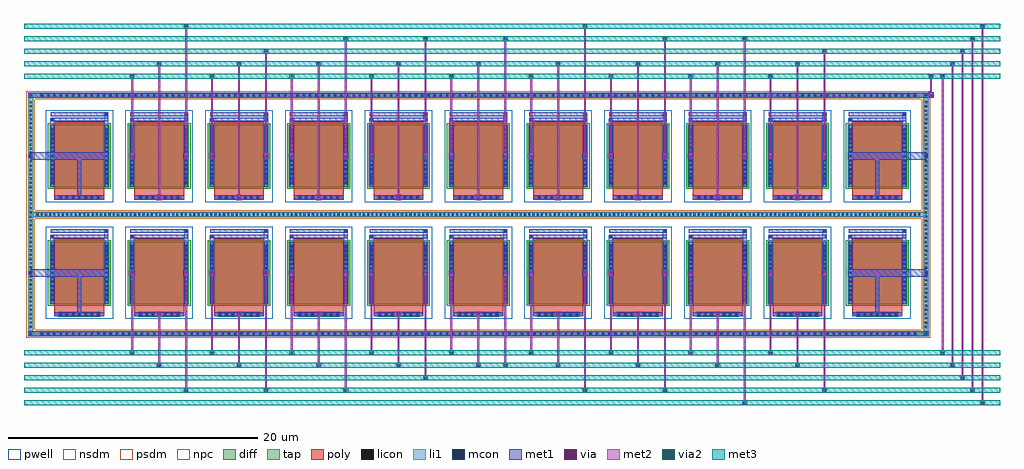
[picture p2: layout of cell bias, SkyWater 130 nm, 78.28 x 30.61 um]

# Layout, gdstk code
import gdstk
lib = gdstk.Library(unit=1e-6, precision=5e-09)
def R(c, l, rs):  # rectangles x0, y0, x1, y1
    for r in rs: c.add(gdstk.rectangle(r[:2], r[2:], *l))
def A(c, l, x, y, w, h, nx, ny, dx, dy):  # array of equal rectangles
    R(c, l, [(x+i*dx, y+j*dy, x+i*dx+w, y+j*dy+h) for i in range(nx) for j in range(ny)])
def P(c, l, *ps):  # polygons
    for p in ps: c.add(gdstk.Polygon(p, *l))
pwell = (64, 44)
diff = (65, 20)
tap = (65, 44)
poly = (66, 20)
licon = (66, 44)
li1 = (67, 20)
mcon = (67, 44)
met1 = (68, 20)
via = (68, 44)
met2 = (69, 20)
via2 = (69, 44)
met3 = (70, 20)
nsdm = (93, 44)
psdm = (94, 20)
npc = (95, 20)

unnamed_e75113da = lib.new_cell('Unnamed_e75113da')
R(unnamed_e75113da, pwell, [(-2.7,-3.68,2.7,3.685)])
R(unnamed_e75113da, diff, [(-2.39,-2.5,2.39,2.5)])
A(unnamed_e75113da, poly, -1.665, -3.48, 0.33, 0.33, 7, 1, 0.5, 0)
R(unnamed_e75113da, poly, [(-2,-3.48,2,-3.15), (-2,-3.15,2,-2.75), (-2,-2.75,2,2.75)])
A(unnamed_e75113da, licon, -1.585, -3.4, 0.17, 0.17, 7, 1, 0.5, 0)
A(unnamed_e75113da, licon, -2.25, -2.125, 0.17, 0.17, 1, 13, 0, 0.34)
A(unnamed_e75113da, licon, 2.08, -2.125, 0.17, 0.17, 1, 13, 0, 0.34)
A(unnamed_e75113da, li1, -1.665, -3.48, 0.33, 0.33, 7, 1, 0.5, 0)
A(unnamed_e75113da, li1, -2.25, -2.245, 0.17, 0.17, 1, 13, 0, 0.36)
A(unnamed_e75113da, li1, 2.08, -2.245, 0.17, 0.17, 1, 13, 0, 0.36)
A(unnamed_e75113da, li1, -2.33, -2.205, 0.33, 0.33, 1, 13, 0, 0.34)
A(unnamed_e75113da, li1, 2, -2.205, 0.33, 0.33, 1, 13, 0, 0.34)
R(unnamed_e75113da, li1, [(-2.33,-2.5,-2,2.5), (2,-2.5,2.33,2.5), (-2.25,-2.245,-2.08,2.245), (2.08,-2.245,2.25,2.245), (-2.33,2.5,-2,3.015), (2,2.5,2.33,3.445), (-2.25,2.845,-2.08,3.015), (2.08,3.275,2.25,3.445)])
A(unnamed_e75113da, mcon, -1.585, -3.4, 0.17, 0.17, 7, 1, 0.5, 0)
A(unnamed_e75113da, mcon, -2.25, -2.245, 0.17, 0.17, 1, 13, 0, 0.36)
A(unnamed_e75113da, mcon, 2.08, -2.245, 0.17, 0.17, 1, 13, 0, 0.36)
R(unnamed_e75113da, mcon, [(-2.25,2.845,-2.08,3.015), (2.08,3.275,2.25,3.445)])
A(unnamed_e75113da, met1, -1.645, -3.46, 0.29, 0.29, 7, 1, 0.5, 0)
A(unnamed_e75113da, met1, -2.31, -2.305, 0.29, 0.29, 1, 13, 0, 0.36)
A(unnamed_e75113da, met1, 2.02, -2.305, 0.29, 0.29, 1, 13, 0, 0.36)
R(unnamed_e75113da, met1, [(-2,-3.48,2,-3.15), (-2.31,-2.5,-2.02,2.5), (2.02,-2.5,2.31,2.5), (-2.31,2.785,-2.02,3.075), (-2.31,2.785,2.31,3.075), (-2.31,3.215,2.31,3.505), (2.02,3.215,2.31,3.505)])
R(unnamed_e75113da, nsdm, [(-2.52,-2.63,2.52,2.63)])
A(unnamed_e75113da, npc, -1.685, -3.5, 0.37, 0.37, 7, 1, 0.5, 0)
R(unnamed_e75113da, npc, [(-1.685,-3.5,-0.815,-3.13), (-1.685,-3.5,-0.815,-3.13), (-1.185,-3.5,-0.315,-3.13), (-1.185,-3.5,-0.315,-3.13), (-0.685,-3.5,0.185,-3.13), (-0.685,-3.5,0.185,-3.13), (-0.185,-3.5,0.685,-3.13), (-0.185,-3.5,0.685,-3.13), (0.315,-3.5,1.185,-3.13), (0.315,-3.5,1.185,-3.13), (0.815,-3.5,1.685,-3.13), (0.815,-3.5,1.685,-3.13)])

unnamed_e9b6cd89_1 = lib.new_cell('Unnamed_e9b6cd89$1')
A(unnamed_e9b6cd89_1, diff, -35.205, -9.775, 0.41, 0.41, 141, 2, 0.5, 19.14)
A(unnamed_e9b6cd89_1, diff, -36.11, -9.215, 0.41, 0.41, 1, 54, 0, 0.34)
A(unnamed_e9b6cd89_1, diff, 35.7, -9.215, 0.41, 0.41, 1, 54, 0, 0.34)
R(unnamed_e9b6cd89_1, diff, [(-35.205,-9.775,35.205,-9.365), (-36.11,-9.215,-35.7,9.215), (35.7,-9.215,36.11,9.215), (-35.205,9.365,35.205,9.775)])
P(unnamed_e9b6cd89_1, diff, [(36.11,9.775),(-36.11,9.775),(-36.11,-9.365),(-35.7,-9.365),(-35.7,9.365),(35.7,9.365),(35.7,-9.365),(-35.7,-9.365),(-36.11,-9.365),(-36.11,-9.775),(36.11,-9.775)])
A(unnamed_e9b6cd89_1, licon, -35.085, -9.655, 0.17, 0.17, 141, 2, 0.5, 19.14)
A(unnamed_e9b6cd89_1, licon, -35.99, -9.095, 0.17, 0.17, 1, 54, 0, 0.34)
A(unnamed_e9b6cd89_1, licon, 35.82, -9.095, 0.17, 0.17, 1, 54, 0, 0.34)
A(unnamed_e9b6cd89_1, li1, -35.165, -9.735, 0.33, 0.33, 141, 2, 0.5, 19.14)
A(unnamed_e9b6cd89_1, li1, -36.07, -9.175, 0.33, 0.33, 1, 54, 0, 0.34)
A(unnamed_e9b6cd89_1, li1, 35.74, -9.175, 0.33, 0.33, 1, 54, 0, 0.34)
R(unnamed_e9b6cd89_1, li1, [(-36.11,-9.775,-35.7,-9.365), (35.7,-9.775,36.11,-9.365), (-35.165,-9.735,35.165,-9.405), (-35.99,-9.655,-35.82,-9.485), (-35.99,-9.655,-35.82,-9.485), (35.82,-9.655,35.99,-9.485), (35.82,-9.655,35.99,-9.485), (-36.11,-9.365,-35.7,9.365), (35.7,-9.365,36.11,9.365), (-36.11,9.365,-35.7,9.775), (35.7,9.365,36.11,9.775), (-35.165,9.405,35.165,9.735), (-35.99,9.485,-35.82,9.655), (-35.99,9.485,-35.82,9.655), (35.82,9.485,35.99,9.655), (35.82,9.485,35.99,9.655)])
A(unnamed_e9b6cd89_1, mcon, -35.085, -9.655, 0.17, 0.17, 141, 2, 0.5, 19.14)
R(unnamed_e9b6cd89_1, mcon, [(-35.99,-9.655,-35.82,-9.485), (35.82,-9.655,35.99,-9.485), (-35.99,9.485,-35.82,9.655), (35.82,9.485,35.99,9.655)])
A(unnamed_e9b6cd89_1, met1, -35.145, -9.715, 0.29, 0.29, 141, 2, 0.5, 19.14)
R(unnamed_e9b6cd89_1, met1, [(-36.11,-9.775,-35.7,-9.365), (-36.11,-9.775,-35.7,-9.365), (-35.7,-9.775,35.7,-9.365), (35.7,-9.775,36.11,-9.365), (35.7,-9.775,36.11,-9.365), (-36.05,-9.715,-35.76,-9.425), (35.76,-9.715,36.05,-9.425), (-36.11,9.365,-35.7,9.775), (-36.11,9.365,-35.7,9.775), (-35.7,9.365,35.7,9.775), (35.7,9.365,36.11,9.775), (35.7,9.365,36.11,9.775), (-36.05,9.425,-35.76,9.715), (35.76,9.425,36.05,9.715)])
P(unnamed_e9b6cd89_1, psdm, [(36.24,9.905),(-36.24,9.905),(-36.24,-9.235),(-35.57,-9.235),(-35.57,9.235),(35.57,9.235),(35.57,-9.235),(-35.57,-9.235),(-36.24,-9.235),(-36.24,-9.905),(36.24,-9.905)])

via_stack_9ce972bd_70 = lib.new_cell('via_stack_9ce972bd$70')
R(via_stack_9ce972bd_70, li1, [(-0.085,-0.085,0.085,0.085)])
R(via_stack_9ce972bd_70, mcon, [(-0.085,-0.085,0.085,0.085)])
R(via_stack_9ce972bd_70, met1, [(-0.145,-0.145,0.145,0.145)])

via_stack_9ce972bd_71 = lib.new_cell('via_stack_9ce972bd$71')
R(via_stack_9ce972bd_71, li1, [(-0.085,-0.085,0.085,0.085)])
R(via_stack_9ce972bd_71, mcon, [(-0.085,-0.085,0.085,0.085)])
R(via_stack_9ce972bd_71, met1, [(-0.145,-0.145,0.145,0.145)])

via_stack_9ce972bd_72 = lib.new_cell('via_stack_9ce972bd$72')
R(via_stack_9ce972bd_72, li1, [(-0.085,-0.085,0.085,0.085)])
R(via_stack_9ce972bd_72, mcon, [(-0.085,-0.085,0.085,0.085)])
R(via_stack_9ce972bd_72, met1, [(-0.145,-0.145,0.145,0.145)])

via_stack_9ce972bd_73 = lib.new_cell('via_stack_9ce972bd$73')
R(via_stack_9ce972bd_73, li1, [(-0.085,-0.085,0.085,0.085)])
R(via_stack_9ce972bd_73, mcon, [(-0.085,-0.085,0.085,0.085)])
R(via_stack_9ce972bd_73, met1, [(-0.145,-0.145,0.145,0.145)])

via_stack_22ee024c_123 = lib.new_cell('via_stack_22ee024c$123')
R(via_stack_22ee024c_123, met1, [(-0.215,-0.215,0.215,0.215)])
R(via_stack_22ee024c_123, via, [(-0.075,-0.075,0.075,0.075)])
R(via_stack_22ee024c_123, met2, [(-0.165,-0.165,0.165,0.165)])

via_stack_22ee024c_124 = lib.new_cell('via_stack_22ee024c$124')
R(via_stack_22ee024c_124, met1, [(-0.215,-0.215,0.215,0.215)])
R(via_stack_22ee024c_124, via, [(-0.075,-0.075,0.075,0.075)])
R(via_stack_22ee024c_124, met2, [(-0.165,-0.165,0.165,0.165)])

via_stack_22ee024c_125 = lib.new_cell('via_stack_22ee024c$125')
R(via_stack_22ee024c_125, met1, [(-0.215,-0.215,0.215,0.215)])
R(via_stack_22ee024c_125, via, [(-0.075,-0.075,0.075,0.075)])
R(via_stack_22ee024c_125, met2, [(-0.165,-0.165,0.165,0.165)])

via_stack_22ee024c_126 = lib.new_cell('via_stack_22ee024c$126')
R(via_stack_22ee024c_126, met1, [(-0.215,-0.215,0.215,0.215)])
R(via_stack_22ee024c_126, via, [(-0.075,-0.075,0.075,0.075)])
R(via_stack_22ee024c_126, met2, [(-0.165,-0.165,0.165,0.165)])

via_stack_22ee024c_127 = lib.new_cell('via_stack_22ee024c$127')
R(via_stack_22ee024c_127, met1, [(-0.215,-0.215,0.215,0.215)])
R(via_stack_22ee024c_127, via, [(-0.075,-0.075,0.075,0.075)])
R(via_stack_22ee024c_127, met2, [(-0.165,-0.165,0.165,0.165)])

via_stack_22ee024c_128 = lib.new_cell('via_stack_22ee024c$128')
R(via_stack_22ee024c_128, met1, [(-0.215,-0.215,0.215,0.215)])
R(via_stack_22ee024c_128, via, [(-0.075,-0.075,0.075,0.075)])
R(via_stack_22ee024c_128, met2, [(-0.165,-0.165,0.165,0.165)])

via_stack_22ee024c_129 = lib.new_cell('via_stack_22ee024c$129')
R(via_stack_22ee024c_129, met1, [(-0.215,-0.215,0.215,0.215)])
R(via_stack_22ee024c_129, via, [(-0.075,-0.075,0.075,0.075)])
R(via_stack_22ee024c_129, met2, [(-0.165,-0.165,0.165,0.165)])

via_stack_22ee024c_130 = lib.new_cell('via_stack_22ee024c$130')
R(via_stack_22ee024c_130, met1, [(-0.215,-0.215,0.215,0.215)])
R(via_stack_22ee024c_130, via, [(-0.075,-0.075,0.075,0.075)])
R(via_stack_22ee024c_130, met2, [(-0.165,-0.165,0.165,0.165)])

via_stack_22ee024c_131 = lib.new_cell('via_stack_22ee024c$131')
R(via_stack_22ee024c_131, met1, [(-0.215,-0.215,0.215,0.215)])
R(via_stack_22ee024c_131, via, [(-0.075,-0.075,0.075,0.075)])
R(via_stack_22ee024c_131, met2, [(-0.165,-0.165,0.165,0.165)])

via_stack_22ee024c_132 = lib.new_cell('via_stack_22ee024c$132')
R(via_stack_22ee024c_132, met1, [(-0.215,-0.215,0.215,0.215)])
R(via_stack_22ee024c_132, via, [(-0.075,-0.075,0.075,0.075)])
R(via_stack_22ee024c_132, met2, [(-0.165,-0.165,0.165,0.165)])

via_stack_22ee024c_133 = lib.new_cell('via_stack_22ee024c$133')
R(via_stack_22ee024c_133, met1, [(-0.215,-0.215,0.215,0.215)])
R(via_stack_22ee024c_133, via, [(-0.075,-0.075,0.075,0.075)])
R(via_stack_22ee024c_133, met2, [(-0.165,-0.165,0.165,0.165)])

via_stack_22ee024c_134 = lib.new_cell('via_stack_22ee024c$134')
R(via_stack_22ee024c_134, met1, [(-0.215,-0.215,0.215,0.215)])
R(via_stack_22ee024c_134, via, [(-0.075,-0.075,0.075,0.075)])
R(via_stack_22ee024c_134, met2, [(-0.165,-0.165,0.165,0.165)])

via_stack_22ee024c_135 = lib.new_cell('via_stack_22ee024c$135')
R(via_stack_22ee024c_135, met1, [(-0.215,-0.215,0.215,0.215)])
R(via_stack_22ee024c_135, via, [(-0.075,-0.075,0.075,0.075)])
R(via_stack_22ee024c_135, met2, [(-0.165,-0.165,0.165,0.165)])

via_stack_22ee024c_136 = lib.new_cell('via_stack_22ee024c$136')
R(via_stack_22ee024c_136, met1, [(-0.215,-0.215,0.215,0.215)])
R(via_stack_22ee024c_136, via, [(-0.075,-0.075,0.075,0.075)])
R(via_stack_22ee024c_136, met2, [(-0.165,-0.165,0.165,0.165)])

via_stack_22ee024c_137 = lib.new_cell('via_stack_22ee024c$137')
R(via_stack_22ee024c_137, met1, [(-0.215,-0.215,0.215,0.215)])
R(via_stack_22ee024c_137, via, [(-0.075,-0.075,0.075,0.075)])
R(via_stack_22ee024c_137, met2, [(-0.165,-0.165,0.165,0.165)])

via_stack_22ee024c_138 = lib.new_cell('via_stack_22ee024c$138')
R(via_stack_22ee024c_138, met1, [(-0.215,-0.215,0.215,0.215)])
R(via_stack_22ee024c_138, via, [(-0.075,-0.075,0.075,0.075)])
R(via_stack_22ee024c_138, met2, [(-0.165,-0.165,0.165,0.165)])

via_stack_22ee024c_139 = lib.new_cell('via_stack_22ee024c$139')
R(via_stack_22ee024c_139, met1, [(-0.215,-0.215,0.215,0.215)])
R(via_stack_22ee024c_139, via, [(-0.075,-0.075,0.075,0.075)])
R(via_stack_22ee024c_139, met2, [(-0.165,-0.165,0.165,0.165)])

via_stack_22ee024c_140 = lib.new_cell('via_stack_22ee024c$140')
R(via_stack_22ee024c_140, met1, [(-0.215,-0.215,0.215,0.215)])
R(via_stack_22ee024c_140, via, [(-0.075,-0.075,0.075,0.075)])
R(via_stack_22ee024c_140, met2, [(-0.165,-0.165,0.165,0.165)])

via_stack_22ee024c_141 = lib.new_cell('via_stack_22ee024c$141')
R(via_stack_22ee024c_141, met1, [(-0.215,-0.215,0.215,0.215)])
R(via_stack_22ee024c_141, via, [(-0.075,-0.075,0.075,0.075)])
R(via_stack_22ee024c_141, met2, [(-0.165,-0.165,0.165,0.165)])

via_stack_22ee024c_142 = lib.new_cell('via_stack_22ee024c$142')
R(via_stack_22ee024c_142, met1, [(-0.215,-0.215,0.215,0.215)])
R(via_stack_22ee024c_142, via, [(-0.075,-0.075,0.075,0.075)])
R(via_stack_22ee024c_142, met2, [(-0.165,-0.165,0.165,0.165)])

via_stack_22ee024c_143 = lib.new_cell('via_stack_22ee024c$143')
R(via_stack_22ee024c_143, met1, [(-0.215,-0.215,0.215,0.215)])
R(via_stack_22ee024c_143, via, [(-0.075,-0.075,0.075,0.075)])
R(via_stack_22ee024c_143, met2, [(-0.165,-0.165,0.165,0.165)])

via_stack_22ee024c_144 = lib.new_cell('via_stack_22ee024c$144')
R(via_stack_22ee024c_144, met1, [(-0.215,-0.215,0.215,0.215)])
R(via_stack_22ee024c_144, via, [(-0.075,-0.075,0.075,0.075)])
R(via_stack_22ee024c_144, met2, [(-0.165,-0.165,0.165,0.165)])

via_stack_22ee024c_145 = lib.new_cell('via_stack_22ee024c$145')
R(via_stack_22ee024c_145, met1, [(-0.215,-0.215,0.215,0.215)])
R(via_stack_22ee024c_145, via, [(-0.075,-0.075,0.075,0.075)])
R(via_stack_22ee024c_145, met2, [(-0.165,-0.165,0.165,0.165)])

via_stack_22ee024c_146 = lib.new_cell('via_stack_22ee024c$146')
R(via_stack_22ee024c_146, met1, [(-0.215,-0.215,0.215,0.215)])
R(via_stack_22ee024c_146, via, [(-0.075,-0.075,0.075,0.075)])
R(via_stack_22ee024c_146, met2, [(-0.165,-0.165,0.165,0.165)])

via_stack_22ee024c_147 = lib.new_cell('via_stack_22ee024c$147')
R(via_stack_22ee024c_147, met1, [(-0.215,-0.215,0.215,0.215)])
R(via_stack_22ee024c_147, via, [(-0.075,-0.075,0.075,0.075)])
R(via_stack_22ee024c_147, met2, [(-0.165,-0.165,0.165,0.165)])

via_stack_22ee024c_148 = lib.new_cell('via_stack_22ee024c$148')
R(via_stack_22ee024c_148, met1, [(-0.215,-0.215,0.215,0.215)])
R(via_stack_22ee024c_148, via, [(-0.075,-0.075,0.075,0.075)])
R(via_stack_22ee024c_148, met2, [(-0.165,-0.165,0.165,0.165)])

via_stack_22ee024c_149 = lib.new_cell('via_stack_22ee024c$149')
R(via_stack_22ee024c_149, met1, [(-0.215,-0.215,0.215,0.215)])
R(via_stack_22ee024c_149, via, [(-0.075,-0.075,0.075,0.075)])
R(via_stack_22ee024c_149, met2, [(-0.165,-0.165,0.165,0.165)])

via_stack_22ee024c_150 = lib.new_cell('via_stack_22ee024c$150')
R(via_stack_22ee024c_150, met1, [(-0.215,-0.215,0.215,0.215)])
R(via_stack_22ee024c_150, via, [(-0.075,-0.075,0.075,0.075)])
R(via_stack_22ee024c_150, met2, [(-0.165,-0.165,0.165,0.165)])

via_stack_22ee024c_151 = lib.new_cell('via_stack_22ee024c$151')
R(via_stack_22ee024c_151, met1, [(-0.215,-0.215,0.215,0.215)])
R(via_stack_22ee024c_151, via, [(-0.075,-0.075,0.075,0.075)])
R(via_stack_22ee024c_151, met2, [(-0.165,-0.165,0.165,0.165)])

via_stack_22ee024c_152 = lib.new_cell('via_stack_22ee024c$152')
R(via_stack_22ee024c_152, met1, [(-0.215,-0.215,0.215,0.215)])
R(via_stack_22ee024c_152, via, [(-0.075,-0.075,0.075,0.075)])
R(via_stack_22ee024c_152, met2, [(-0.165,-0.165,0.165,0.165)])

via_stack_22ee024c_153 = lib.new_cell('via_stack_22ee024c$153')
R(via_stack_22ee024c_153, met1, [(-0.215,-0.215,0.215,0.215)])
R(via_stack_22ee024c_153, via, [(-0.075,-0.075,0.075,0.075)])
R(via_stack_22ee024c_153, met2, [(-0.165,-0.165,0.165,0.165)])

via_stack_22ee024c_154 = lib.new_cell('via_stack_22ee024c$154')
R(via_stack_22ee024c_154, met1, [(-0.215,-0.215,0.215,0.215)])
R(via_stack_22ee024c_154, via, [(-0.075,-0.075,0.075,0.075)])
R(via_stack_22ee024c_154, met2, [(-0.165,-0.165,0.165,0.165)])

via_stack_22ee024c_155 = lib.new_cell('via_stack_22ee024c$155')
R(via_stack_22ee024c_155, met1, [(-0.215,-0.215,0.215,0.215)])
R(via_stack_22ee024c_155, via, [(-0.075,-0.075,0.075,0.075)])
R(via_stack_22ee024c_155, met2, [(-0.165,-0.165,0.165,0.165)])

via_stack_22ee024c_156 = lib.new_cell('via_stack_22ee024c$156')
R(via_stack_22ee024c_156, met1, [(-0.215,-0.215,0.215,0.215)])
R(via_stack_22ee024c_156, via, [(-0.075,-0.075,0.075,0.075)])
R(via_stack_22ee024c_156, met2, [(-0.165,-0.165,0.165,0.165)])

via_stack_22ee024c_157 = lib.new_cell('via_stack_22ee024c$157')
R(via_stack_22ee024c_157, met1, [(-0.215,-0.215,0.215,0.215)])
R(via_stack_22ee024c_157, via, [(-0.075,-0.075,0.075,0.075)])
R(via_stack_22ee024c_157, met2, [(-0.165,-0.165,0.165,0.165)])

via_stack_22ee024c_158 = lib.new_cell('via_stack_22ee024c$158')
R(via_stack_22ee024c_158, met1, [(-0.215,-0.215,0.215,0.215)])
R(via_stack_22ee024c_158, via, [(-0.075,-0.075,0.075,0.075)])
R(via_stack_22ee024c_158, met2, [(-0.165,-0.165,0.165,0.165)])

via_stack_22ee024c_159 = lib.new_cell('via_stack_22ee024c$159')
R(via_stack_22ee024c_159, met1, [(-0.215,-0.215,0.215,0.215)])
R(via_stack_22ee024c_159, via, [(-0.075,-0.075,0.075,0.075)])
R(via_stack_22ee024c_159, met2, [(-0.165,-0.165,0.165,0.165)])

via_stack_22ee024c_160 = lib.new_cell('via_stack_22ee024c$160')
R(via_stack_22ee024c_160, met1, [(-0.215,-0.215,0.215,0.215)])
R(via_stack_22ee024c_160, via, [(-0.075,-0.075,0.075,0.075)])
R(via_stack_22ee024c_160, met2, [(-0.165,-0.165,0.165,0.165)])

via_stack_22ee024c_161 = lib.new_cell('via_stack_22ee024c$161')
R(via_stack_22ee024c_161, met1, [(-0.215,-0.215,0.215,0.215)])
R(via_stack_22ee024c_161, via, [(-0.075,-0.075,0.075,0.075)])
R(via_stack_22ee024c_161, met2, [(-0.165,-0.165,0.165,0.165)])

via_stack_22ee024c_162 = lib.new_cell('via_stack_22ee024c$162')
R(via_stack_22ee024c_162, met1, [(-0.215,-0.215,0.215,0.215)])
R(via_stack_22ee024c_162, via, [(-0.075,-0.075,0.075,0.075)])
R(via_stack_22ee024c_162, met2, [(-0.165,-0.165,0.165,0.165)])

via_stack_22ee024c_163 = lib.new_cell('via_stack_22ee024c$163')
R(via_stack_22ee024c_163, met1, [(-0.215,-0.215,0.215,0.215)])
R(via_stack_22ee024c_163, via, [(-0.075,-0.075,0.075,0.075)])
R(via_stack_22ee024c_163, met2, [(-0.165,-0.165,0.165,0.165)])

via_stack_22ee024c_164 = lib.new_cell('via_stack_22ee024c$164')
R(via_stack_22ee024c_164, met1, [(-0.215,-0.215,0.215,0.215)])
R(via_stack_22ee024c_164, via, [(-0.075,-0.075,0.075,0.075)])
R(via_stack_22ee024c_164, met2, [(-0.165,-0.165,0.165,0.165)])

via_stack_22ee024c_165 = lib.new_cell('via_stack_22ee024c$165')
R(via_stack_22ee024c_165, met1, [(-0.215,-0.215,0.215,0.215)])
R(via_stack_22ee024c_165, via, [(-0.075,-0.075,0.075,0.075)])
R(via_stack_22ee024c_165, met2, [(-0.165,-0.165,0.165,0.165)])

via_stack_22ee024c_166 = lib.new_cell('via_stack_22ee024c$166')
R(via_stack_22ee024c_166, met1, [(-0.215,-0.215,0.215,0.215)])
R(via_stack_22ee024c_166, via, [(-0.075,-0.075,0.075,0.075)])
R(via_stack_22ee024c_166, met2, [(-0.165,-0.165,0.165,0.165)])

via_stack_22ee024c_167 = lib.new_cell('via_stack_22ee024c$167')
R(via_stack_22ee024c_167, met1, [(-0.215,-0.215,0.215,0.215)])
R(via_stack_22ee024c_167, via, [(-0.075,-0.075,0.075,0.075)])
R(via_stack_22ee024c_167, met2, [(-0.165,-0.165,0.165,0.165)])

via_stack_22ee024c_168 = lib.new_cell('via_stack_22ee024c$168')
R(via_stack_22ee024c_168, met1, [(-0.215,-0.215,0.215,0.215)])
R(via_stack_22ee024c_168, via, [(-0.075,-0.075,0.075,0.075)])
R(via_stack_22ee024c_168, met2, [(-0.165,-0.165,0.165,0.165)])

via_stack_22ee024c_169 = lib.new_cell('via_stack_22ee024c$169')
R(via_stack_22ee024c_169, met1, [(-0.215,-0.215,0.215,0.215)])
R(via_stack_22ee024c_169, via, [(-0.075,-0.075,0.075,0.075)])
R(via_stack_22ee024c_169, met2, [(-0.165,-0.165,0.165,0.165)])

via_stack_22ee024c_170 = lib.new_cell('via_stack_22ee024c$170')
R(via_stack_22ee024c_170, met1, [(-0.215,-0.215,0.215,0.215)])
R(via_stack_22ee024c_170, via, [(-0.075,-0.075,0.075,0.075)])
R(via_stack_22ee024c_170, met2, [(-0.165,-0.165,0.165,0.165)])

via_stack_22ee024c_171 = lib.new_cell('via_stack_22ee024c$171')
R(via_stack_22ee024c_171, met1, [(-0.215,-0.215,0.215,0.215)])
R(via_stack_22ee024c_171, via, [(-0.075,-0.075,0.075,0.075)])
R(via_stack_22ee024c_171, met2, [(-0.165,-0.165,0.165,0.165)])

via_stack_22ee024c_172 = lib.new_cell('via_stack_22ee024c$172')
R(via_stack_22ee024c_172, met1, [(-0.215,-0.215,0.215,0.215)])
R(via_stack_22ee024c_172, via, [(-0.075,-0.075,0.075,0.075)])
R(via_stack_22ee024c_172, met2, [(-0.165,-0.165,0.165,0.165)])

via_stack_22ee024c_173 = lib.new_cell('via_stack_22ee024c$173')
R(via_stack_22ee024c_173, met1, [(-0.215,-0.215,0.215,0.215)])
R(via_stack_22ee024c_173, via, [(-0.075,-0.075,0.075,0.075)])
R(via_stack_22ee024c_173, met2, [(-0.165,-0.165,0.165,0.165)])

via_stack_22ee024c_174 = lib.new_cell('via_stack_22ee024c$174')
R(via_stack_22ee024c_174, met1, [(-0.215,-0.215,0.215,0.215)])
R(via_stack_22ee024c_174, via, [(-0.075,-0.075,0.075,0.075)])
R(via_stack_22ee024c_174, met2, [(-0.165,-0.165,0.165,0.165)])

via_stack_22ee024c_175 = lib.new_cell('via_stack_22ee024c$175')
R(via_stack_22ee024c_175, met1, [(-0.215,-0.215,0.215,0.215)])
R(via_stack_22ee024c_175, via, [(-0.075,-0.075,0.075,0.075)])
R(via_stack_22ee024c_175, met2, [(-0.165,-0.165,0.165,0.165)])

via_stack_22ee024c_176 = lib.new_cell('via_stack_22ee024c$176')
R(via_stack_22ee024c_176, met1, [(-0.215,-0.215,0.215,0.215)])
R(via_stack_22ee024c_176, via, [(-0.075,-0.075,0.075,0.075)])
R(via_stack_22ee024c_176, met2, [(-0.165,-0.165,0.165,0.165)])

via_stack_22ee024c_177 = lib.new_cell('via_stack_22ee024c$177')
R(via_stack_22ee024c_177, met1, [(-0.215,-0.215,0.215,0.215)])
R(via_stack_22ee024c_177, via, [(-0.075,-0.075,0.075,0.075)])
R(via_stack_22ee024c_177, met2, [(-0.165,-0.165,0.165,0.165)])

bias = lib.new_cell('bias')
R(bias, tap, [(-1.205,-8.57,70.605,-8.16)])
A(bias, licon, -0.745, -8.45, 0.17, 0.17, 209, 1, 0.34, 0)
R(bias, li1, [(-1.205,-8.53,70.605,-8.2)])
R(bias, met1, [(2.55,-16.515,2.85,-13.05), (66.55,-16.515,66.85,-13.05), (-1.205,-13.35,5.065,-12.75), (64.335,-13.35,70.605,-12.75), (2.55,-7.15,2.85,-3.685), (66.55,-7.15,66.85,-3.685), (-1.205,-3.985,5.065,-3.385), (64.335,-3.985,70.605,-3.385)])
A(bias, met2, 11.08, -22.655, 0.37, 0.37, 3, 1, 6.4, 0)
A(bias, met2, 11.195, -22.47, 0.14, 9.42, 3, 1, 6.4, 0)
A(bias, met2, 8.915, -20.655, 0.37, 0.37, 5, 1, 6.4, 0)
A(bias, met2, 40.915, -20.655, 0.37, 0.37, 4, 1, 6.4, 0)
A(bias, met2, 9.03, -20.47, 0.14, 4.105, 9, 1, 6.4, 0)
A(bias, met2, 6.75, -19.655, 0.37, 0.37, 9, 2, 6.4, 22.21)
A(bias, met2, 6.865, -19.47, 0.14, 6.42, 9, 1, 6.4, 0)
A(bias, met2, 9.03, -7, 0.14, 10.74, 9, 1, 6.4, 0)
A(bias, met2, 6.865, -3.685, 0.14, 6.425, 9, 1, 6.4, 0)
A(bias, met2, 23.995, -3.685, 0.14, 9.425, 3, 1, 6.4, 0)
A(bias, met2, 8.915, 3.555, 0.37, 0.37, 9, 1, 6.4, 0)
A(bias, met2, 23.88, 5.555, 0.37, 0.37, 3, 1, 6.4, 0)
R(bias, met2, [(55.88,-23.655,56.25,-23.285), (74.955,-23.655,75.325,-23.285), (55.995,-23.47,56.135,-13.05), (75.07,-23.47,75.21,6.74), (43.08,-22.655,43.45,-22.285), (49.48,-22.655,49.85,-22.285), (62.28,-22.655,62.65,-22.285), (74.155,-22.655,74.525,-22.285), (43.195,-22.47,43.335,-13.05), (49.595,-22.47,49.735,-13.05), (62.395,-22.47,62.535,-13.05), (74.27,-22.47,74.41,5.74), (30.28,-21.655,30.65,-21.285), (73.355,-21.655,73.725,-21.285), (30.395,-21.47,30.535,-13.05), (73.47,-21.47,73.61,4.74), (36.68,-20.655,37.05,-20.285), (72.555,-20.655,72.925,-20.285), (36.795,-20.47,36.935,-13.05), (72.67,-20.47,72.81,3.74), (71.755,-19.655,72.125,-19.285), (71.87,-19.47,72.01,2.74), (11.195,-3.685,11.335,6.74), (17.595,-3.685,17.735,4.74), (43.195,-3.685,43.335,6.74), (49.595,-3.685,49.735,5.74), (55.995,-3.685,56.135,5.74), (62.395,-3.685,62.535,4.74), (70.93,1.205,71.07,2.74), (70.815,2.555,71.185,2.925), (71.755,2.555,72.125,2.925), (72.555,3.555,72.925,3.925), (17.48,4.555,17.85,4.925), (62.28,4.555,62.65,4.925), (73.355,4.555,73.725,4.925), (49.48,5.555,49.85,5.925), (55.88,5.555,56.25,5.925), (74.155,5.555,74.525,5.925), (11.08,6.555,11.45,6.925), (43.08,6.555,43.45,6.925), (74.955,6.555,75.325,6.925)])
A(bias, via2, 11.165, -22.57, 0.2, 0.2, 3, 1, 6.4, 0)
A(bias, via2, 9, -20.57, 0.2, 0.2, 5, 1, 6.4, 0)
A(bias, via2, 41, -20.57, 0.2, 0.2, 4, 1, 6.4, 0)
A(bias, via2, 6.835, -19.57, 0.2, 0.2, 9, 2, 6.4, 22.21)
A(bias, via2, 9, 3.64, 0.2, 0.2, 9, 1, 6.4, 0)
A(bias, via2, 23.965, 5.64, 0.2, 0.2, 3, 1, 6.4, 0)
R(bias, via2, [(55.965,-23.57,56.165,-23.37), (75.04,-23.57,75.24,-23.37), (43.165,-22.57,43.365,-22.37), (49.565,-22.57,49.765,-22.37), (62.365,-22.57,62.565,-22.37), (74.24,-22.57,74.44,-22.37), (30.365,-21.57,30.565,-21.37), (73.44,-21.57,73.64,-21.37), (36.765,-20.57,36.965,-20.37), (72.64,-20.57,72.84,-20.37), (71.84,-19.57,72.04,-19.37), (70.9,2.64,71.1,2.84), (71.84,2.64,72.04,2.84), (72.64,3.64,72.84,3.84), (17.565,4.64,17.765,4.84), (62.365,4.64,62.565,4.84), (73.44,4.64,73.64,4.84), (49.565,5.64,49.765,5.84), (55.965,5.64,56.165,5.84), (74.24,5.64,74.44,5.84), (11.165,6.64,11.365,6.84), (43.165,6.64,43.365,6.84), (75.04,6.64,75.24,6.84)])
A(bias, met3, -1.74, -23.67, 78.28, 0.4, 1, 5, 0, 1)
A(bias, met3, 11.065, -22.67, 0.4, 0.4, 3, 1, 6.4, 0)
A(bias, met3, 8.9, -20.67, 0.4, 0.4, 5, 1, 6.4, 0)
A(bias, met3, 40.9, -20.67, 0.4, 0.4, 4, 1, 6.4, 0)
A(bias, met3, 6.735, -19.67, 0.4, 0.4, 9, 2, 6.4, 22.21)
A(bias, met3, -1.74, 2.54, 78.28, 0.4, 1, 5, 0, 1)
A(bias, met3, 8.9, 3.54, 0.4, 0.4, 9, 1, 6.4, 0)
A(bias, met3, 23.865, 5.54, 0.4, 0.4, 3, 1, 6.4, 0)
R(bias, met3, [(55.865,-23.67,56.265,-23.27), (74.94,-23.67,75.34,-23.27), (43.065,-22.67,43.465,-22.27), (49.465,-22.67,49.865,-22.27), (62.265,-22.67,62.665,-22.27), (74.14,-22.67,74.54,-22.27), (30.265,-21.67,30.665,-21.27), (73.34,-21.67,73.74,-21.27), (36.665,-20.67,37.065,-20.27), (72.54,-20.67,72.94,-20.27), (71.74,-19.67,72.14,-19.27), (70.8,2.54,71.2,2.94), (71.74,2.54,72.14,2.94), (72.54,3.54,72.94,3.94), (17.465,4.54,17.865,4.94), (62.265,4.54,62.665,4.94), (73.34,4.54,73.74,4.94), (49.465,5.54,49.865,5.94), (55.865,5.54,56.265,5.94), (74.14,5.54,74.54,5.94), (11.065,6.54,11.465,6.94), (43.065,6.54,43.465,6.94), (74.94,6.54,75.34,6.94)])
R(bias, psdm, [(-1.205,-8.695,70.605,-8.035)])
bias.add(gdstk.Reference(unnamed_e75113da, (34.7,-3.685)))
bias.add(gdstk.Reference(unnamed_e75113da, (34.7,-13.05)))
bias.add(gdstk.Reference(unnamed_e75113da, (28.3,-3.685)))
bias.add(gdstk.Reference(unnamed_e75113da, (41.1,-13.05)))
bias.add(gdstk.Reference(unnamed_e75113da, (41.1,-3.685)))
bias.add(gdstk.Reference(unnamed_e75113da, (28.3,-13.05)))
bias.add(gdstk.Reference(unnamed_e75113da, (21.9,-3.685)))
bias.add(gdstk.Reference(unnamed_e75113da, (47.5,-13.05)))
bias.add(gdstk.Reference(unnamed_e75113da, (47.5,-3.685)))
bias.add(gdstk.Reference(unnamed_e75113da, (21.9,-13.05)))
bias.add(gdstk.Reference(unnamed_e75113da, (15.5,-3.685)))
bias.add(gdstk.Reference(unnamed_e75113da, (53.9,-13.05)))
bias.add(gdstk.Reference(unnamed_e75113da, (53.9,-3.685)))
bias.add(gdstk.Reference(unnamed_e75113da, (15.5,-13.05)))
bias.add(gdstk.Reference(unnamed_e75113da, (9.1,-3.685)))
bias.add(gdstk.Reference(unnamed_e75113da, (60.3,-3.685)))
bias.add(gdstk.Reference(unnamed_e75113da, (9.1,-13.05)))
bias.add(gdstk.Reference(unnamed_e75113da, (60.3,-13.05)))
bias.add(gdstk.Reference(unnamed_e75113da, (2.7,-3.685)))
bias.add(gdstk.Reference(unnamed_e75113da, (66.7,-3.685)))
bias.add(gdstk.Reference(unnamed_e75113da, (2.7,-13.05)))
bias.add(gdstk.Reference(unnamed_e75113da, (66.7,-13.05)))
bias.add(gdstk.Reference(unnamed_e9b6cd89_1, (34.7,-8.365)))
bias.add(gdstk.Reference(via_stack_9ce972bd_70, (-1.205,-3.685)))
bias.add(gdstk.Reference(via_stack_9ce972bd_71, (70.605,-3.685)))
bias.add(gdstk.Reference(via_stack_9ce972bd_72, (-1.205,-13.05)))
bias.add(gdstk.Reference(via_stack_9ce972bd_73, (70.605,-13.05)))
bias.add(gdstk.Reference(via_stack_22ee024c_123, (11.265,-3.685)))
bias.add(gdstk.Reference(via_stack_22ee024c_124, (6.935,-3.685)))
bias.add(gdstk.Reference(via_stack_22ee024c_125, (9.1,-7)))
bias.add(gdstk.Reference(via_stack_22ee024c_126, (11.265,-13.05)))
bias.add(gdstk.Reference(via_stack_22ee024c_127, (6.935,-13.05)))
bias.add(gdstk.Reference(via_stack_22ee024c_128, (9.1,-16.365)))
bias.add(gdstk.Reference(via_stack_22ee024c_129, (17.665,-3.685)))
bias.add(gdstk.Reference(via_stack_22ee024c_130, (13.335,-3.685)))
bias.add(gdstk.Reference(via_stack_22ee024c_131, (15.5,-7)))
bias.add(gdstk.Reference(via_stack_22ee024c_132, (17.665,-13.05)))
bias.add(gdstk.Reference(via_stack_22ee024c_133, (13.335,-13.05)))
bias.add(gdstk.Reference(via_stack_22ee024c_134, (15.5,-16.365)))
bias.add(gdstk.Reference(via_stack_22ee024c_135, (24.065,-3.685)))
bias.add(gdstk.Reference(via_stack_22ee024c_136, (19.735,-3.685)))
bias.add(gdstk.Reference(via_stack_22ee024c_137, (21.9,-7)))
bias.add(gdstk.Reference(via_stack_22ee024c_138, (24.065,-13.05)))
bias.add(gdstk.Reference(via_stack_22ee024c_139, (19.735,-13.05)))
bias.add(gdstk.Reference(via_stack_22ee024c_140, (21.9,-16.365)))
bias.add(gdstk.Reference(via_stack_22ee024c_141, (30.465,-3.685)))
bias.add(gdstk.Reference(via_stack_22ee024c_142, (26.135,-3.685)))
bias.add(gdstk.Reference(via_stack_22ee024c_143, (28.3,-7)))
bias.add(gdstk.Reference(via_stack_22ee024c_144, (30.465,-13.05)))
bias.add(gdstk.Reference(via_stack_22ee024c_145, (26.135,-13.05)))
bias.add(gdstk.Reference(via_stack_22ee024c_146, (28.3,-16.365)))
bias.add(gdstk.Reference(via_stack_22ee024c_147, (36.865,-3.685)))
bias.add(gdstk.Reference(via_stack_22ee024c_148, (32.535,-3.685)))
bias.add(gdstk.Reference(via_stack_22ee024c_149, (34.7,-7)))
bias.add(gdstk.Reference(via_stack_22ee024c_150, (36.865,-13.05)))
bias.add(gdstk.Reference(via_stack_22ee024c_151, (32.535,-13.05)))
bias.add(gdstk.Reference(via_stack_22ee024c_152, (34.7,-16.365)))
bias.add(gdstk.Reference(via_stack_22ee024c_153, (43.265,-3.685)))
bias.add(gdstk.Reference(via_stack_22ee024c_154, (38.935,-3.685)))
bias.add(gdstk.Reference(via_stack_22ee024c_155, (41.1,-7)))
bias.add(gdstk.Reference(via_stack_22ee024c_156, (43.265,-13.05)))
bias.add(gdstk.Reference(via_stack_22ee024c_157, (38.935,-13.05)))
bias.add(gdstk.Reference(via_stack_22ee024c_158, (41.1,-16.365)))
bias.add(gdstk.Reference(via_stack_22ee024c_159, (49.665,-3.685)))
bias.add(gdstk.Reference(via_stack_22ee024c_160, (45.335,-3.685)))
bias.add(gdstk.Reference(via_stack_22ee024c_161, (47.5,-7)))
bias.add(gdstk.Reference(via_stack_22ee024c_162, (49.665,-13.05)))
bias.add(gdstk.Reference(via_stack_22ee024c_163, (45.335,-13.05)))
bias.add(gdstk.Reference(via_stack_22ee024c_164, (47.5,-16.365)))
bias.add(gdstk.Reference(via_stack_22ee024c_165, (56.065,-3.685)))
bias.add(gdstk.Reference(via_stack_22ee024c_166, (51.735,-3.685)))
bias.add(gdstk.Reference(via_stack_22ee024c_167, (53.9,-7)))
bias.add(gdstk.Reference(via_stack_22ee024c_168, (56.065,-13.05)))
bias.add(gdstk.Reference(via_stack_22ee024c_169, (51.735,-13.05)))
bias.add(gdstk.Reference(via_stack_22ee024c_170, (53.9,-16.365)))
bias.add(gdstk.Reference(via_stack_22ee024c_171, (62.465,-3.685)))
bias.add(gdstk.Reference(via_stack_22ee024c_172, (58.135,-3.685)))
bias.add(gdstk.Reference(via_stack_22ee024c_173, (60.3,-7)))
bias.add(gdstk.Reference(via_stack_22ee024c_174, (62.465,-13.05)))
bias.add(gdstk.Reference(via_stack_22ee024c_175, (58.135,-13.05)))
bias.add(gdstk.Reference(via_stack_22ee024c_176, (60.3,-16.365)))
bias.add(gdstk.Reference(via_stack_22ee024c_177, (71,1.205)))

lib.write_gds('bias.gds')
